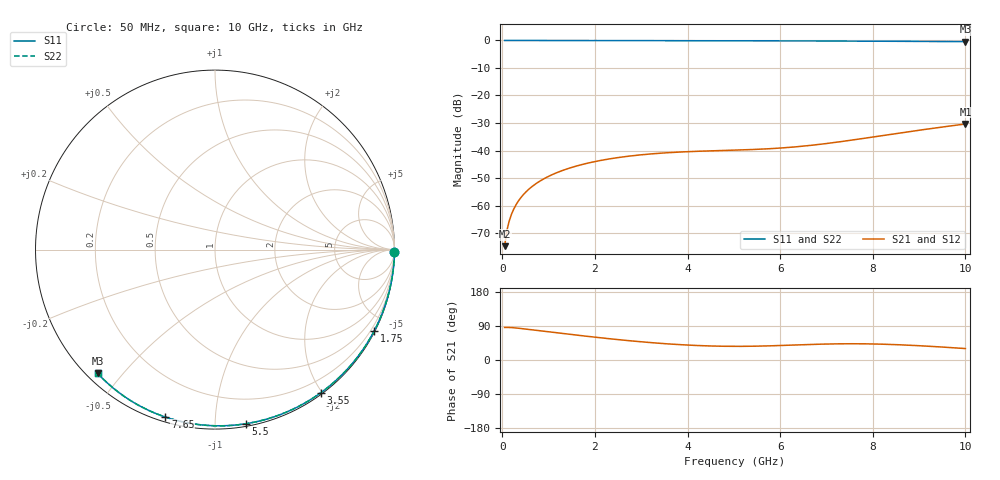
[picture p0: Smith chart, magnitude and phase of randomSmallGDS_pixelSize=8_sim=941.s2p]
! freq	dB(S11)	phase(S11)	dB(S12)	phase(S12)
!  dB(S21)	phase(S21)	dB(S22)	phase(S22)
!S-par simulation data
#  GHz  S  DB  R 50
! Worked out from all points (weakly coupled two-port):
!   200 points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, 50 MHz to 10 GHz, reference 50 ohm
!   highest |S21| = -30.36 dB at 10 GHz (marker M1); lowest = -74.8 dB at 50 MHz (marker M2)
!   lowest |S11| = -0.4 dB at 10 GHz (marker M3), VSWR 39.28, Z = 1.51 - j21.5 ohm
!   |S11| at or under -10 dB: nowhere
!   |S22| runs from -0.4 to 0.0 dB; largest |S21 - S12| = 0
!   S11 on the Smith chart (normalised r, x): 50 MHz: open; 1.75 GHz: 0.04, -4.17; 3.55 GHz: 0.02, -1.99; 5.5 GHz: 0.02, -1.19; 7.65 GHz: 0.02, -0.75; 10 GHz: 0.03, -0.43
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0.05  -0.00 -0.8  -74.77 85.8  -74.77 85.8  -0.00 -0.8
0.1  -0.00 -1.6  -69.02 86.0  -69.02 86.0  -0.00 -1.6
0.15  -0.00 -2.4  -65.58 85.9  -65.58 85.9  -0.00 -2.4
0.2  -0.00 -3.1  -63.11 85.5  -63.11 85.5  -0.00 -3.1
0.25  -0.00 -3.9  -61.20 85.0  -61.20 85.0  -0.00 -3.9
0.35  -0.00 -5.5  -58.30 83.8  -58.30 83.8  -0.00 -5.5
0.5  -0.01 -7.8  -55.24 81.7  -55.24 81.7  -0.01 -7.8
0.7  -0.01 -10.9  -52.37 78.8  -52.37 78.8  -0.01 -10.9
1  -0.02 -15.5  -49.39 74.4  -49.39 74.4  -0.02 -15.5
1.35  -0.03 -20.9  -46.96 69.3  -46.96 69.3  -0.03 -20.9
1.75  -0.03 -27.0  -44.98 63.6  -44.98 63.6  -0.03 -27.0
2.5  -0.05 -38.2  -42.57 53.8  -42.57 53.8  -0.05 -38.2
3.4  -0.07 -51.3  -41.00 44.1  -41.00 44.1  -0.07 -51.3
3.55  -0.07 -53.4  -40.83 42.7  -40.83 42.7  -0.07 -53.4
4.3  -0.09 -63.9  -40.23 37.8  -40.23 37.8  -0.09 -63.9
5.05  -0.11 -74.0  -39.85 36.0  -39.85 36.0  -0.11 -74.0
5.5  -0.13 -79.9  -39.57 36.6  -39.57 36.6  -0.13 -79.9
6.7  -0.18 -95.1  -38.06 41.2  -38.06 41.2  -0.18 -95.0
7.65  -0.24 -106.5  -35.97 42.9  -35.97 42.9  -0.24 -106.5
8.35  -0.29 -114.7  -34.22 41.2  -34.22 41.2  -0.29 -114.7
9.2  -0.36 -124.4  -32.16 36.4  -32.16 36.4  -0.36 -124.4
10  -0.44 -133.5  -30.36 30.2  -30.36 30.2  -0.44 -133.5
